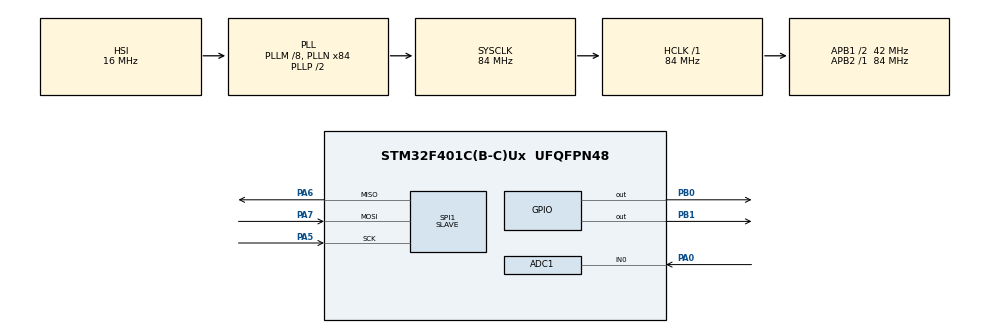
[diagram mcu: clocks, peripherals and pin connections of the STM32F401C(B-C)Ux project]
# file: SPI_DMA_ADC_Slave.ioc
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ADC1.Channel-0\#ChannelRegularConversion=ADC_CHANNEL_0
ADC1.ContinuousConvMode=ENABLE
ADC1.EOCSelection=ADC_EOC_SEQ_CONV
ADC1.NbrOfConversionFlag=1
ADC1.Rank-0\#ChannelRegularConversion=1
ADC1.SamplingTime-0\#ChannelRegularConversion=ADC_SAMPLETIME_144CYCLES
ADC1.master=1
Dma.Request0=SPI1_RX
Dma.Request1=SPI1_TX
Dma.SPI1_RX.0.Direction=DMA_PERIPH_TO_MEMORY
Dma.SPI1_RX.0.FIFOMode=DMA_FIFOMODE_DISABLE
Dma.SPI1_RX.0.Instance=DMA2_Stream0
Dma.SPI1_RX.0.MemDataAlignment=DMA_MDATAALIGN_BYTE
Dma.SPI1_RX.0.MemInc=DMA_MINC_ENABLE
Dma.SPI1_RX.0.Mode=DMA_NORMAL
Dma.SPI1_RX.0.PeriphDataAlignment=DMA_PDATAALIGN_BYTE
Dma.SPI1_RX.0.PeriphInc=DMA_PINC_DISABLE
Dma.SPI1_RX.0.Priority=DMA_PRIORITY_LOW
Dma.SPI1_TX.1.Direction=DMA_MEMORY_TO_PERIPH
Dma.SPI1_TX.1.FIFOMode=DMA_FIFOMODE_DISABLE
Dma.SPI1_TX.1.Instance=DMA2_Stream3
Dma.SPI1_TX.1.MemDataAlignment=DMA_MDATAALIGN_BYTE
Dma.SPI1_TX.1.MemInc=DMA_MINC_ENABLE
Dma.SPI1_TX.1.Mode=DMA_NORMAL
Dma.SPI1_TX.1.PeriphDataAlignment=DMA_PDATAALIGN_BYTE
Dma.SPI1_TX.1.PeriphInc=DMA_PINC_DISABLE
Dma.SPI1_TX.1.Priority=DMA_PRIORITY_LOW
Mcu.Family=STM32F4
Mcu.Name=STM32F401C(B-C)Ux
Mcu.Package=UFQFPN48
NVIC.ADC_IRQn=true\:1\:0\:true\:false\:true\:true\:true
NVIC.DMA2_Stream0_IRQn=true\:3\:0\:true\:false\:true\:false\:true
NVIC.DMA2_Stream3_IRQn=true\:2\:0\:true\:false\:true\:false\:true
NVIC.PriorityGroup=NVIC_PRIORITYGROUP_4
NVIC.SPI1_IRQn=true\:1\:0\:true\:false\:true\:true\:true
PA0-WKUP.Signal=ADCx_IN0
PA13.Mode=Serial_Wire
PA13.Signal=SYS_JTMS-SWDIO
PA14.Mode=Serial_Wire
PA14.Signal=SYS_JTCK-SWCLK
PA5.Mode=Full_Duplex_Slave
PA5.Signal=SPI1_SCK
PA6.Mode=Full_Duplex_Slave
PA6.Signal=SPI1_MISO
PA7.Mode=Full_Duplex_Slave
PA7.Signal=SPI1_MOSI
PB0.Signal=GPIO_Output
PB1.Signal=GPIO_Output
PH0\ -\ OSC_IN.Mode=HSE-External-Oscillator
PH0\ -\ OSC_IN.Signal=RCC_OSC_IN
PH1\ -\ OSC_OUT.Mode=HSE-External-Oscillator
PH1\ -\ OSC_OUT.Signal=RCC_OSC_OUT
ProjectManager.HeapSize=0x200
ProjectManager.StackSize=0x400
ProjectManager.TargetToolchain=STM32CubeIDE
RCC.48MHZClocksFreq_Value=42000000
RCC.AHBFreq_Value=84000000
RCC.APB1CLKDivider=RCC_HCLK_DIV2
RCC.APB1Freq_Value=42000000
RCC.APB1TimFreq_Value=84000000
RCC.APB2Freq_Value=84000000
RCC.APB2TimFreq_Value=84000000
RCC.CortexFreq_Value=84000000
RCC.HCLKFreq_Value=84000000
RCC.HSE_VALUE=25000000
RCC.HSI_VALUE=16000000
RCC.LSE_VALUE=32768
RCC.PLLM=8
RCC.PLLN=84
RCC.SYSCLKFreq_VALUE=84000000
RCC.SYSCLKSource=RCC_SYSCLKSOURCE_PLLCLK
RCC.VCOOutputFreq_Value=168000000
SH.ADCx_IN0.0=ADC1_IN0,IN0
SPI1.CLKPolarity=SPI_POLARITY_HIGH
SPI1.Direction=SPI_DIRECTION_2LINES
SPI1.Mode=SPI_MODE_SLAVE
SPI1.VirtualType=VM_SLAVE
board=custom

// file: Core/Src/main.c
/* USER CODE BEGIN Header */
/**
  ******************************************************************************
  * @file           : main.c
  * @brief          : Main program body
  ******************************************************************************
  * @attention
  *
  * <h2><center>&copy; Copyright (c) 2021 STMicroelectronics.
  * All rights reserved.</center></h2>
  *
  * This software component is licensed by ST under BSD 3-Clause license,
  * the "License"; You may not use this file except in compliance with the
  * License. You may obtain a copy of the License at:
  *                        opensource.org/licenses/BSD-3-Clause
  *
  ******************************************************************************
  */
/* USER CODE END Header */
#include "main.h"

/* USER CODE BEGIN Includes */
#include "stdio.h"

/* USER CODE END Includes */

ADC_HandleTypeDef hadc1;

SPI_HandleTypeDef hspi1;
DMA_HandleTypeDef hdma_spi1_rx;
DMA_HandleTypeDef hdma_spi1_tx;

/* USER CODE BEGIN PV */

uint8_t spi_TX[]="SPI_Slave_to_Master\r\n\t";
uint8_t spi_RX[25]={0};
uint16_t ADCV=0;

/* USER CODE END PV */

void SystemClock_Config(void);
static void MX_GPIO_Init(void);
static void MX_DMA_Init(void);
static void MX_SPI1_Init(void);
static void MX_ADC1_Init(void);

int main(void)
{

  /* MCU Configuration--------------------------------------------------------*/

  /* Reset of all peripherals, Initializes the Flash interface and the Systick. */
  HAL_Init();

  /* Configure the system clock */
  SystemClock_Config();

  /* Initialize all configured peripherals */
  MX_GPIO_Init();
  MX_DMA_Init();
  MX_SPI1_Init();
  MX_ADC1_Init();
  /* USER CODE BEGIN 2 */
  __HAL_ADC_ENABLE(&hadc1);
  __HAL_SPI_ENABLE(&hspi1);

	if (HAL_ADC_Start_IT(&hadc1) != HAL_OK) {
	Error_Handler();
	}

	while(HAL_SPI_GetState(&hspi1)!=HAL_SPI_STATE_READY);
	if (HAL_SPI_TransmitReceive_DMA(&hspi1, (uint8_t*)spi_TX, (uint8_t*)spi_RX, 25)!= HAL_OK) {
	Error_Handler();
	}

  /* USER CODE END 2 */

  /* Infinite loop */
  while (1)
  {

  }
}

void SystemClock_Config(void)
{
  RCC_OscInitTypeDef RCC_OscInitStruct = {0};
  RCC_ClkInitTypeDef RCC_ClkInitStruct = {0};

  /** Configure the main internal regulator output voltage
  */
  __HAL_RCC_PWR_CLK_ENABLE();
  __HAL_PWR_VOLTAGESCALING_CONFIG(PWR_REGULATOR_VOLTAGE_SCALE2);
  /** Initializes the RCC Oscillators according to the specified parameters
  * in the RCC_OscInitTypeDef structure.
  */
  RCC_OscInitStruct.OscillatorType = RCC_OSCILLATORTYPE_HSI;
  RCC_OscInitStruct.HSIState = RCC_HSI_ON;
  RCC_OscInitStruct.HSICalibrationValue = RCC_HSICALIBRATION_DEFAULT;
  RCC_OscInitStruct.PLL.PLLState = RCC_PLL_ON;
  RCC_OscInitStruct.PLL.PLLSource = RCC_PLLSOURCE_HSI;
  RCC_OscInitStruct.PLL.PLLM = 8;
  RCC_OscInitStruct.PLL.PLLN = 84;
  RCC_OscInitStruct.PLL.PLLP = RCC_PLLP_DIV2;
  RCC_OscInitStruct.PLL.PLLQ = 4;
  if (HAL_RCC_OscConfig(&RCC_OscInitStruct) != HAL_OK)
  {
    Error_Handler();
  }
  /** Initializes the CPU, AHB and APB buses clocks
  */
  RCC_ClkInitStruct.ClockType = RCC_CLOCKTYPE_HCLK|RCC_CLOCKTYPE_SYSCLK
                              |RCC_CLOCKTYPE_PCLK1|RCC_CLOCKTYPE_PCLK2;
  RCC_ClkInitStruct.SYSCLKSource = RCC_SYSCLKSOURCE_PLLCLK;
  RCC_ClkInitStruct.AHBCLKDivider = RCC_SYSCLK_DIV1;
  RCC_ClkInitStruct.APB1CLKDivider = RCC_HCLK_DIV2;
  RCC_ClkInitStruct.APB2CLKDivider = RCC_HCLK_DIV1;

  if (HAL_RCC_ClockConfig(&RCC_ClkInitStruct, FLASH_LATENCY_2) != HAL_OK)
  {
    Error_Handler();
  }
}

static void MX_ADC1_Init(void)
{

  ADC_ChannelConfTypeDef sConfig = {0};

  /** Configure the global features of the ADC (Clock, Resolution, Data Alignment and number of conversion)
  */
  hadc1.Instance = ADC1;
  hadc1.Init.ClockPrescaler = ADC_CLOCK_SYNC_PCLK_DIV4;
  hadc1.Init.Resolution = ADC_RESOLUTION_12B;
  hadc1.Init.ScanConvMode = DISABLE;
  hadc1.Init.ContinuousConvMode = ENABLE;
  hadc1.Init.DiscontinuousConvMode = DISABLE;
  hadc1.Init.ExternalTrigConvEdge = ADC_EXTERNALTRIGCONVEDGE_NONE;
  hadc1.Init.ExternalTrigConv = ADC_SOFTWARE_START;
  hadc1.Init.DataAlign = ADC_DATAALIGN_RIGHT;
  hadc1.Init.NbrOfConversion = 1;
  hadc1.Init.DMAContinuousRequests = DISABLE;
  hadc1.Init.EOCSelection = ADC_EOC_SEQ_CONV;
  if (HAL_ADC_Init(&hadc1) != HAL_OK)
  {
    Error_Handler();
  }
  /** Configure for the selected ADC regular channel its corresponding rank in the sequencer and its sample time.
  */
  sConfig.Channel = ADC_CHANNEL_0;
  sConfig.Rank = 1;
  sConfig.SamplingTime = ADC_SAMPLETIME_144CYCLES;
  if (HAL_ADC_ConfigChannel(&hadc1, &sConfig) != HAL_OK)
  {
    Error_Handler();
  }

}

static void MX_SPI1_Init(void)
{

  /* SPI1 parameter configuration*/
  hspi1.Instance = SPI1;
  hspi1.Init.Mode = SPI_MODE_SLAVE;
  hspi1.Init.Direction = SPI_DIRECTION_2LINES;
  hspi1.Init.DataSize = SPI_DATASIZE_8BIT;
  hspi1.Init.CLKPolarity = SPI_POLARITY_HIGH;
  hspi1.Init.CLKPhase = SPI_PHASE_1EDGE;
  hspi1.Init.NSS = SPI_NSS_SOFT;
  hspi1.Init.FirstBit = SPI_FIRSTBIT_MSB;
  hspi1.Init.TIMode = SPI_TIMODE_DISABLE;
  hspi1.Init.CRCCalculation = SPI_CRCCALCULATION_DISABLE;
  hspi1.Init.CRCPolynomial = 10;
  if (HAL_SPI_Init(&hspi1) != HAL_OK)
  {
    Error_Handler();
  }

}

static void MX_DMA_Init(void)
{

  /* DMA controller clock enable */
  __HAL_RCC_DMA2_CLK_ENABLE();

  /* DMA interrupt init */
  /* DMA2_Stream0_IRQn interrupt configuration */
  HAL_NVIC_SetPriority(DMA2_Stream0_IRQn, 3, 0);
  HAL_NVIC_EnableIRQ(DMA2_Stream0_IRQn);
  /* DMA2_Stream3_IRQn interrupt configuration */
  HAL_NVIC_SetPriority(DMA2_Stream3_IRQn, 2, 0);
  HAL_NVIC_EnableIRQ(DMA2_Stream3_IRQn);

}

static void MX_GPIO_Init(void)
{
  GPIO_InitTypeDef GPIO_InitStruct = {0};

  /* GPIO Ports Clock Enable */
  __HAL_RCC_GPIOH_CLK_ENABLE();
  __HAL_RCC_GPIOA_CLK_ENABLE();
  __HAL_RCC_GPIOB_CLK_ENABLE();

  /*Configure GPIO pin Output Level */
  HAL_GPIO_WritePin(GPIOB, GPIO_PIN_0|GPIO_PIN_1, GPIO_PIN_RESET);

  /*Configure GPIO pins : PB0 PB1 */
  GPIO_InitStruct.Pin = GPIO_PIN_0|GPIO_PIN_1;
  GPIO_InitStruct.Mode = GPIO_MODE_OUTPUT_PP;
  GPIO_InitStruct.Pull = GPIO_NOPULL;
  GPIO_InitStruct.Speed = GPIO_SPEED_FREQ_LOW;
  HAL_GPIO_Init(GPIOB, &GPIO_InitStruct);

}

/* USER CODE BEGIN 4 */
void HAL_SPI_TxRxCpltCallback(SPI_HandleTypeDef *hspi)
{

	sprintf((char*)spi_TX,"slv_adc_value: %4d\r\n\t",ADCV);
	if (HAL_SPI_TransmitReceive_DMA(&hspi1,(uint8_t*)spi_TX,(uint8_t*)spi_RX, 25)!= HAL_OK) {
		Error_Handler();
	}
	HAL_GPIO_WritePin(GPIOB, GPIO_PIN_0, GPIO_PIN_SET);
	HAL_GPIO_WritePin(GPIOB, GPIO_PIN_1, GPIO_PIN_RESET);

}

void HAL_SPI_ErrorCallback(SPI_HandleTypeDef *hspi)
{
	HAL_GPIO_WritePin(GPIOB, GPIO_PIN_0, GPIO_PIN_SET);
	HAL_GPIO_WritePin(GPIOB, GPIO_PIN_1, GPIO_PIN_SET);

}

void HAL_ADC_ConvCpltCallback(ADC_HandleTypeDef* hadc)
{
	ADCV=HAL_ADC_GetValue(&hadc1);
}

/* USER CODE END 4 */

void Error_Handler(void)
{
  __disable_irq();
  while (1)
  {
  }
}

/************************ (C) COPYRIGHT STMicroelectronics *****END OF FILE****/
